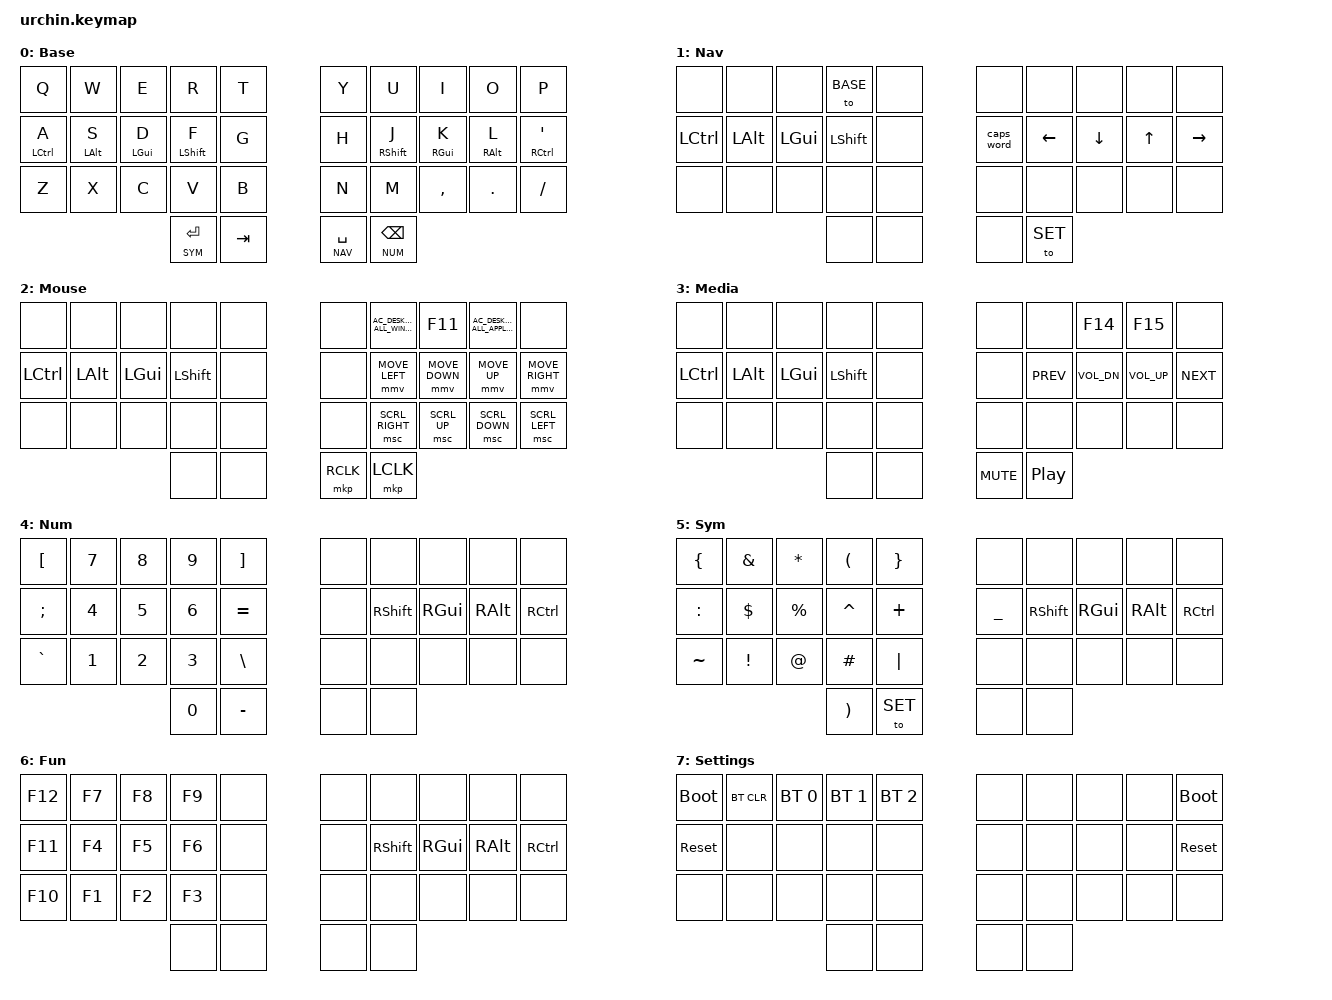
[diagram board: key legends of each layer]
// Copyright (c) 2022 The ZMK Contributors
// SPDX-License-Identifier: MIT

#include <behaviors.dtsi>
#include <dt-bindings/zmk/keys.h>
#include <dt-bindings/zmk/bt.h>
#include <dt-bindings/zmk/pointing.h>
#include "zmk-helpers/helper.h"
#include "zmk-helpers/key-labels/34.h"

// Layer names
#define BASE 0
#define NAV 1 
#define MOUSE 2
#define MEDIA 3
#define NUM 4 
#define SYM 5 
#define FUN 6 
#define SET 7

// Defaults
#define QUICK_TAP_MS 175

// Home row mods
#define KEYS_L LT0 LT1 LT2 LT3 LT4 LM0 LM1 LM2 LM3 LM4 LB0 LB1 LB2 LB3 LB4
#define KEYS_R RT0 RT1 RT2 RT3 RT4 RM0 RM1 RM2 RM3 RM4 RB0 RB1 RB2 RB3 RB4
#define THUMBS LH1 LH0 RH0 RH1

#define MAKE_HRM(NAME, HOLD, TAP, TRIGGER_POS)                                 \
  ZMK_HOLD_TAP(NAME, bindings = <HOLD>, <TAP>; flavor = "balanced";            \
               tapping-term-ms = <280>; quick-tap-ms = <QUICK_TAP_MS>;         \
               require-prior-idle-ms = <150>; hold-trigger-on-release;         \
               hold-trigger-key-positions = <TRIGGER_POS>;)

MAKE_HRM(hml, &kp, &kp, KEYS_R THUMBS)
MAKE_HRM(hmr, &kp, &kp, KEYS_L THUMBS)

#define ZMK_COMBO_8(NAME, TAP, POS, LAYERS, COMBO_MS, IDLE_MS, HOLD, SIDE)     \
  MAKE_HRM(hm_combo_##NAME, &kp, TAP, SIDE THUMBS)                             \
  ZMK_COMBO_6(NAME, &hm_combo_##NAME HOLD 0, POS, LAYERS, COMBO_MS, IDLE_MS)

// Combos
#include "combos.dtsi"

// Define shorter / mnemonic names
#define U_BRI_DN F14
#define U_BRI_UP F15
#define U_DESK F11
#define U_LPAD C_AC_DESKTOP_SHOW_ALL_APPLICATIONS
#define U_MCTRL C_AC_DESKTOP_SHOW_ALL_WINDOWS
#define U_MC_L &mkp LCLK
#define U_MC_R &mkp RCLK
#define U_MS_D &mmv MOVE_DOWN
#define U_MS_L &mmv MOVE_LEFT
#define U_MS_R &mmv MOVE_RIGHT
#define U_MS_U &mmv MOVE_UP
#define U_WH_D &msc SCRL_DOWN
#define U_WH_L &msc SCRL_LEFT
#define U_WH_R &msc SCRL_RIGHT
#define U_WH_U &msc SCRL_UP


// Keymap
ZMK_LAYER(Base,
//╭─────────────┬─────────────┬─────────────┬─────────────┬─────────────╮   ╭─────────────┬─────────────┬─────────────┬─────────────┬─────────────╮
//│             │             │             │             │             │   │             │             │             │             │             │
    &kp Q         &kp W         &kp E         &kp R         &kp T             &kp Y         &kp U         &kp I         &kp O         &kp P 
//├─────────────┼─────────────┼─────────────┼─────────────┼─────────────┤   ├─────────────┼─────────────┼─────────────┼─────────────┼─────────────┤
//│             │             │             │             │             │   │             │             │             │             │             │
    &hml LCTRL A  &hml LALT S   &hml LGUI D   &hml LSHFT F  &kp G             &kp H         &hmr RSHFT J  &hmr RGUI K   &hmr RALT L   &hmr RCTRL SQT
//├─────────────┼─────────────┼─────────────┼─────────────┼─────────────┤   ├─────────────┼─────────────┼─────────────┼─────────────┼─────────────┤
//│             │             │             │             │             │   │             │             │             │             │             │
    &kp Z         &kp X         &kp C         &kp V         &kp B             &kp N         &kp M         &kp COMMA     &kp DOT       &kp FSLH
//╰─────────────┴─────────────┴─────────────┼─────────────┼─────────────┤   ├─────────────┼─────────────┼─────────────┴─────────────┴─────────────╯
//                                          │             │             │   │             │             │
                                             &lt SYM ENTER  &kp TAB          &lt NAV SPACE  &lt NUM BSPC
//                                          ╰─────────────┴─────────────╯   ╰─────────────┴─────────────╯
)

ZMK_LAYER(Nav,
//╭─────────────┬─────────────┬─────────────┬─────────────┬─────────────╮   ╭─────────────┬─────────────┬─────────────┬─────────────┬─────────────╮
//│             │             │             │             │             │   │             │             │             │             │             │
    &none         &none         &none           &to BASE      &none             &none         &none         &none         &none         &none
//├─────────────┼─────────────┼─────────────┼─────────────┼─────────────┤   ├─────────────┼─────────────┼─────────────┼─────────────┼─────────────┤
//│             │             │             │             │             │   │             │             │             │             │             │
    &kp LCTRL     &kp LALT      &kp LGUI      &kp LSHFT     &none             &caps_word    &kp LEFT      &kp DOWN      &kp UP        &kp RIGHT
//├─────────────┼─────────────┼─────────────┼─────────────┼─────────────┤   ├─────────────┼─────────────┼─────────────┼─────────────┼─────────────┤
//│             │             │             │             │             │   │             │             │             │             │             │
    &none         &none         &none         &none         &none             &none         &none         &none         &none         &none
//╰─────────────┴─────────────┴─────────────┼─────────────┼─────────────┤   ├─────────────┼─────────────┼─────────────┴─────────────┴─────────────╯
//                                          │             │             │   │             │             │
                                              &none         &none             &none         &to SET
//                                          ╰─────────────┴─────────────╯   ╰─────────────┴─────────────╯
)

ZMK_LAYER(Mouse,
//╭─────────────┬─────────────┬─────────────┬─────────────┬─────────────╮   ╭─────────────┬─────────────┬─────────────┬─────────────┬─────────────╮
//│             │             │             │             │             │   │             │             │             │             │             │
    &none         &none         &none         &none         &none             &none         &kp U_MCTRL   &kp U_DESK    &kp U_LPAD   &none
//├─────────────┼─────────────┼─────────────┼─────────────┼─────────────┤   ├─────────────┼─────────────┼─────────────┼─────────────┼─────────────┤
//│             │             │             │             │             │   │             │             │             │             │             │
    &kp LCTRL     &kp LALT      &kp LGUI      &kp LSHFT     &none             &none         U_MS_L        U_MS_D        U_MS_U        U_MS_R
//├─────────────┼─────────────┼─────────────┼─────────────┼─────────────┤   ├─────────────┼─────────────┼─────────────┼─────────────┼─────────────┤
//│             │             │             │             │             │   │             │             │             │             │             │
    &none         &none         &none         &none         &none             &none         U_WH_R        U_WH_U        U_WH_D        U_WH_L
//╰─────────────┴─────────────┴─────────────┼─────────────┼─────────────┤   ├─────────────┼─────────────┼─────────────┴─────────────┴─────────────╯
//                                          │             │             │   │             │             │
                                              &none         &none             U_MC_R        U_MC_L
//                                          ╰─────────────┴─────────────╯   ╰─────────────┴─────────────╯
)

ZMK_LAYER(Media,
//╭─────────────┬─────────────┬─────────────┬─────────────┬─────────────╮   ╭─────────────┬─────────────┬─────────────┬─────────────┬─────────────╮
//│             │             │             │             │             │   │             │             │             │             │             │
    &none         &none         &none         &none         &none             &none         &none       &kp U_BRI_DN   &kp U_BRI_UP  &none
//├─────────────┼─────────────┼─────────────┼─────────────┼─────────────┤   ├─────────────┼─────────────┼─────────────┼─────────────┼─────────────┤
//│             │             │             │             │             │   │             │             │             │             │             │
    &kp LCTRL     &kp LALT      &kp LGUI      &kp LSHFT     &none             &none         &kp C_PREV    &kp C_VOL_DN  &kp C_VOL_UP  &kp C_NEXT
//├─────────────┼─────────────┼─────────────┼─────────────┼─────────────┤   ├─────────────┼─────────────┼─────────────┼─────────────┼─────────────┤
//│             │             │             │             │             │   │             │             │             │             │             │
    &none         &none         &none         &none         &none             &none         &none          &none         &none         &none
//╰─────────────┴─────────────┴─────────────┼─────────────┼─────────────┤   ├─────────────┼─────────────┼─────────────┴─────────────┴─────────────╯
//                                          │             │             │   │             │             │
                                              &none         &none             &kp C_MUTE    &kp C_PP
//                                          ╰─────────────┴─────────────╯   ╰─────────────┴─────────────╯
)

ZMK_LAYER(Num,
//╭─────────────┬─────────────┬─────────────┬─────────────┬─────────────╮   ╭─────────────┬─────────────┬─────────────┬─────────────┬─────────────╮
//│             │             │             │             │             │   │             │             │             │             │             │
    &kp LBKT      &kp N7        &kp N8        &kp N9        &kp RBKT          &none         &none         &none         &none         &none
//├─────────────┼─────────────┼─────────────┼─────────────┼─────────────┤   ├─────────────┼─────────────┼─────────────┼─────────────┼─────────────┤
//│             │             │             │             │             │   │             │             │             │             │             │
    &kp SEMI      &kp N4        &kp N5        &kp N6        &kp EQUAL         &none         &kp RSHFT     &kp RGUI      &kp RALT      &kp RCTRL
//├─────────────┼─────────────┼─────────────┼─────────────┼─────────────┤   ├─────────────┼─────────────┼─────────────┼─────────────┼─────────────┤
//│             │             │             │             │             │   │             │             │             │             │             │
    &kp GRAVE     &kp N1        &kp N2        &kp N3        &kp BSLH          &none         &none         &none         &none         &none
//╰─────────────┴─────────────┴─────────────┼─────────────┼─────────────┤   ├─────────────┼─────────────┼─────────────┴─────────────┴─────────────╯
//                                          │             │             │   │             │             │
                                              &kp N0        &kp MINUS         &none         &none
//                                          ╰─────────────┴─────────────╯   ╰─────────────┴─────────────╯
)

ZMK_LAYER(Sym,
//╭─────────────┬─────────────┬─────────────┬─────────────┬─────────────╮   ╭─────────────┬─────────────┬─────────────┬─────────────┬─────────────╮
//│             │             │             │             │             │   │             │             │             │             │             │
    &kp LBRC      &kp AMPS      &kp ASTRK     &kp LPAR      &kp RBRC          &none         &none         &none         &none         &none
//├─────────────┼─────────────┼─────────────┼─────────────┼─────────────┤   ├─────────────┼─────────────┼─────────────┼─────────────┼─────────────┤
//│             │             │             │             │             │   │             │             │             │             │             │
    &kp COLON     &kp DLLR      &kp PRCNT     &kp CARET     &kp PLUS          &kp UNDER     &kp RSHFT     &kp RGUI      &kp RALT      &kp RCTRL
//├─────────────┼─────────────┼─────────────┼─────────────┼─────────────┤   ├─────────────┼─────────────┼─────────────┼─────────────┼─────────────┤
//│             │             │             │             │             │   │             │             │             │             │             │
    &kp TILDE     &kp EXCL      &kp AT        &kp HASH      &kp PIPE          &none         &none         &none         &none         &none
//╰─────────────┴─────────────┴─────────────┼─────────────┼─────────────┤   ├─────────────┼─────────────┼─────────────┴─────────────┴─────────────╯
//                                          │             │             │   │             │             │
                                              &kp RPAR      &to SET             &none         &none
//                                          ╰─────────────┴─────────────╯   ╰─────────────┴─────────────╯
)

ZMK_LAYER(Fun,
//╭─────────────┬─────────────┬─────────────┬─────────────┬─────────────╮   ╭─────────────┬─────────────┬─────────────┬─────────────┬─────────────╮
//│             │             │             │             │             │   │             │             │             │             │             │
    &kp F12       &kp F7        &kp F8        &kp F9        &none             &none         &none         &none         &none         &none
//├─────────────┼─────────────┼─────────────┼─────────────┼─────────────┤   ├─────────────┼─────────────┼─────────────┼─────────────┼─────────────┤
//│             │             │             │             │             │   │             │             │             │             │             │
    &kp F11       &kp F4        &kp F5        &kp F6        &none             &none         &kp RSHFT     &kp RGUI      &kp RALT      &kp RCTRL
//├─────────────┼─────────────┼─────────────┼─────────────┼─────────────┤   ├─────────────┼─────────────┼─────────────┼─────────────┼─────────────┤
//│             │             │             │             │             │   │             │             │             │             │             │
    &kp F10       &kp F1        &kp F2        &kp F3        &none             &none         &none         &none         &none         &none
//╰─────────────┴─────────────┴─────────────┼─────────────┼─────────────┤   ├─────────────┼─────────────┼─────────────┴─────────────┴─────────────╯
//                                          │             │             │   │             │             │
                                              &none         &none             &none         &none
//                                          ╰─────────────┴─────────────╯   ╰─────────────┴─────────────╯
)


ZMK_LAYER(Settings,
//╭─────────────┬─────────────┬─────────────┬─────────────┬─────────────╮   ╭─────────────┬─────────────┬─────────────┬─────────────┬─────────────╮
//│             │             │             │             │             │   │             │             │             │             │             │
    &bootloader   &bt BT_CLR   &bt BT_SEL 0   &bt BT_SEL 1  &bt BT_SEL 2        &none       &none         &none         &none         &bootloader
//├─────────────┼─────────────┼─────────────┼─────────────┼─────────────┤   ├─────────────┼─────────────┼─────────────┼─────────────┼─────────────┤
//│             │             │             │             │             │   │             │             │             │             │             │
    &sys_reset          &none        &none        &none        &none           &none         &none         &none         &none         &sys_reset
//├─────────────┼─────────────┼─────────────┼─────────────┼─────────────┤   ├─────────────┼─────────────┼─────────────┼─────────────┼─────────────┤
//│             │             │             │             │             │   │             │             │             │             │             │
    &none               &none        &none        &none        &none           &none         &none         &none         &none         &none
//╰─────────────┴─────────────┴─────────────┼─────────────┼─────────────┤   ├─────────────┼─────────────┼─────────────┴─────────────┴─────────────╯
//                                          │             │             │   │             │             │
                                                  &none        &none           &none         &none
//                                          ╰─────────────┴─────────────╯   ╰─────────────┴─────────────╯
)
